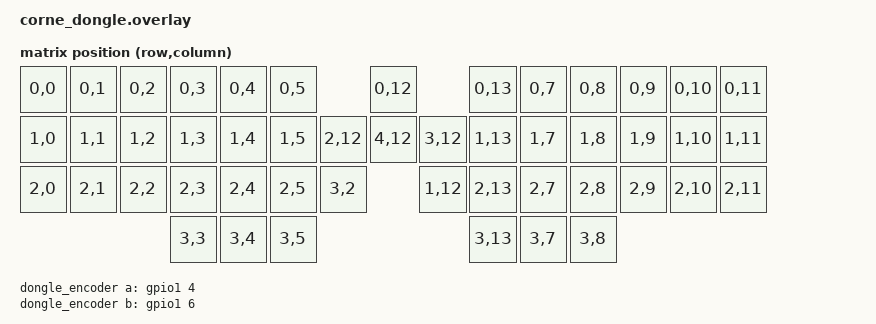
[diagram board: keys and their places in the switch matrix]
/*
 * Copyright (c) 2024 The ZMK Contributors
 * SPDX-License-Identifier: MIT
 */

#include <dt-bindings/led/led.h>
#include <dt-bindings/zmk/matrix_transform.h>

/*
 * Same 14x5 transform as boards/arm/eyelash_corne (default_transform), so the
 * key positions the halves report line up with the existing keymap unchanged.
 * Must be defined BEFORE the layouts file, which references &default_transform.
 */
/ {
    default_transform: keymap_transform_0 {
        compatible = "zmk,matrix-transform";
        columns = <14>;
        rows = <5>;
                    map = <
            RC(0,0) RC(0,1) RC(0,2) RC(0,3) RC(0,4) RC(0,5)                      RC(0,12)           RC(0,13) RC(0,7) RC(0,8) RC(0,9) RC(0,10) RC(0,11)
            RC(1,0) RC(1,1) RC(1,2) RC(1,3) RC(1,4) RC(1,5)             RC(2,12) RC(4,12) RC(3,12)  RC(1,13) RC(1,7) RC(1,8) RC(1,9) RC(1,10) RC(1,11)
            RC(2,0) RC(2,1) RC(2,2) RC(2,3) RC(2,4) RC(2,5) RC(3,2)              RC(1,12)           RC(2,13) RC(2,7) RC(2,8) RC(2,9) RC(2,10) RC(2,11)
                                    RC(3,3) RC(3,4) RC(3,5)                                         RC(3,13) RC(3,7) RC(3,8)
        >;
    };
};

#include "corne_dongle-layouts.dtsi"

/ {
    chosen {
        zmk,kscan = &kscan_mock;
        zmk,physical-layout = &default_layout;
    };

    /* No local keys: the dongle only receives key events from the halves. */
    kscan_mock: kscan_mock {
        compatible = "zmk,kscan-mock";
        columns = <14>;
        rows = <5>;
        events = <0>;
    };

    /*
     * Placeholder encoder. The real EC11 is on the left half; its rotation is
     * sent to the dongle as sensor index 0. ZMK sizes its per-sensor state from
     * the central's zmk,keymap-sensors node, so without one the dongle has zero
     * slots and the left encoder would write out of bounds.
     * P1.04 / P1.06 are free nice!nano pins (not used by the planned display
     * wiring); nothing is connected, so the pull-ups keep it idle.
     * steps / triggers-per-rotation match boards/arm/eyelash_corne.
     */
    dongle_encoder: dongle_encoder {
        compatible = "alps,ec11";
        a-gpios = <&gpio1 4 (GPIO_ACTIVE_HIGH | GPIO_PULL_UP)>;
        b-gpios = <&gpio1 6 (GPIO_ACTIVE_HIGH | GPIO_PULL_UP)>;
        steps = <40>;
        status = "okay";
    };

    sensors: sensors {
        compatible = "zmk,keymap-sensors";
        triggers-per-rotation = <20>;
        sensors = <&dongle_encoder>;
    };

    chosen {
        /* Dummy strip, see "Dummy underglow" below. */
        zmk,underglow = &led_strip;
    };
};

/*
 * ---------------------------------------------------------------------------
 * Dummy underglow (nothing is connected)
 *
 * &rgb_ug key presses are handled by the dongle, which then forwards them to
 * the halves. It can only do that if it knows the behavior, and ZMK only builds
 * RGB underglow when a strip is defined. So the dongle gets a one-LED strip on
 * a free pin (P1.15) on SPIM3; the real LEDs live on the halves.
 * CONFIG_ZMK_RGB_UNDERGLOW_EXT_POWER=n in corne_dongle.conf keeps this strip
 * from switching the ext-power rail, which also powers the display.
 * ---------------------------------------------------------------------------
 */
&pinctrl {
    spi3_default: spi3_default {
        group1 {
            psels = <NRF_PSEL(SPIM_MOSI, 1, 15)>;
        };
    };

    spi3_sleep: spi3_sleep {
        group1 {
            psels = <NRF_PSEL(SPIM_MOSI, 1, 15)>;
            low-power-enable;
        };
    };
};

&spi3 {
    compatible = "nordic,nrf-spim";
    status = "okay";
    pinctrl-0 = <&spi3_default>;
    pinctrl-1 = <&spi3_sleep>;
    pinctrl-names = "default", "sleep";

    led_strip: ws2812@0 {
        compatible = "worldsemi,ws2812-spi";
        reg = <0>;
        spi-max-frequency = <4000000>;
        chain-length = <1>;
        spi-one-frame = <0x70>;
        spi-zero-frame = <0x40>;
        color-mapping = <LED_COLOR_ID_GREEN LED_COLOR_ID_RED LED_COLOR_ID_BLUE>;
    };
};

/*
 * ---------------------------------------------------------------------------
 * ST7735 SPI LCD, 160x128 (hardware test showed 128 rows, not the planned 0.96" 160x80)
 *
 * Wiring (nice!nano v2):
 *   SCK  P1.13   MOSI P1.11   CS  P0.20
 *   DC   P0.17   RES  P0.22   BLK P0.24
 *   VCC  nice!nano VCC (3.3 V, switched by ext-power on P0.13)   GND
 *
 * Uses SPIM2 with its own pinctrl. The board's spi1/i2c0 (which also use
 * P1.13 / P1.11 / P0.17 / P0.20) stay disabled.
 *
 * Panel init values: see the comment in the st7735 node below.
 * Tune on hardware if needed:
 *   - wrong position / garbage edge  -> x-offset / y-offset (and caset/raset)
 *   - mirrored / rotated             -> madctl
 *   - red and blue swapped           -> rgb-is-inverted
 *   - colours look negative          -> toggle inversion-on (currently ON, on purpose)
 * ---------------------------------------------------------------------------
 */

&pinctrl {
    spi2_default: spi2_default {
        group1 {
            psels = <NRF_PSEL(SPIM_SCK, 1, 13)>,
                    <NRF_PSEL(SPIM_MOSI, 1, 11)>;
        };
    };

    spi2_sleep: spi2_sleep {
        group1 {
            psels = <NRF_PSEL(SPIM_SCK, 1, 13)>,
                    <NRF_PSEL(SPIM_MOSI, 1, 11)>;
            low-power-enable;
        };
    };
};

&spi2 {
    compatible = "nordic,nrf-spim";
    status = "okay";
    pinctrl-0 = <&spi2_default>;
    pinctrl-1 = <&spi2_sleep>;
    pinctrl-names = "default", "sleep";
    cs-gpios = <&gpio0 20 GPIO_ACTIVE_LOW>;

    st7735: st7735s@0 {
        compatible = "sitronix,st7735r";
        reg = <0>;
        spi-max-frequency = <8000000>;
        cmd-data-gpios = <&gpio0 17 GPIO_ACTIVE_LOW>;
        reset-gpios = <&gpio0 22 GPIO_ACTIVE_LOW>;

        /*
         * The panel turned out to be a 160x128 ST7735 (1.8"-class), not the
         * 0.96" 160x80. First hardware test with 160x80 values showed: image
         * 80 rows tall with ~26 rows of garbage above / ~22 below, inverted
         * colours (black background), and text sheared one pixel per row
         * (x-offset 1 pushed the window past the last column).
         *
         * Second test (Adafruit 160x128 power/gamma values, inversion off):
         * whole panel plain white, no text. So power/gamma/frame values are
         * back to the Longan Nano set, which visibly drove this glass in the
         * first test; only geometry and inversion differ from that test.
         * madctl / rgb-is-inverted kept: orientation was already correct.
         */
        width = <160>;
        height = <128>;
        x-offset = <0>;
        y-offset = <0>;
        madctl = <0x78>;
        colmod = <0x05>;
        rgb-is-inverted;
        inversion-on; /* panel colour inversion (INVON): whole screen shown as a negative */

        caset = [00 00 00 9f];
        raset = [00 00 00 7f];
        pwctr1 = [62 02 04];
        pwctr2 = [c0];
        pwctr3 = [0d 00];
        pwctr4 = [8d 6a];
        pwctr5 = [8d ee];
        invctr = <0x03>;
        frmctr1 = [05 3a 3a];
        frmctr2 = [05 3a 3a];
        frmctr3 = [05 3a 3a 05 3a 3a];
        vmctr1 = <0x0e>;
        gamctrp1 = [10 0e 02 03 0e 07 02 07 0a 12 27 37 00 0d 0e 10];
        gamctrn1 = [10 0e 03 03 0f 06 02 08 0a 13 26 36 00 0d 0e 10];
    };
};

/ {
    chosen {
        zephyr,display = &st7735;
    };
};

/* Backlight held on for now. Phase 4 replaces this with PWM dimming / idle-off. */
&gpio0 {
    lcd_backlight_on {
        gpio-hog;
        gpios = <24 GPIO_ACTIVE_HIGH>;
        output-high;
    };
};
